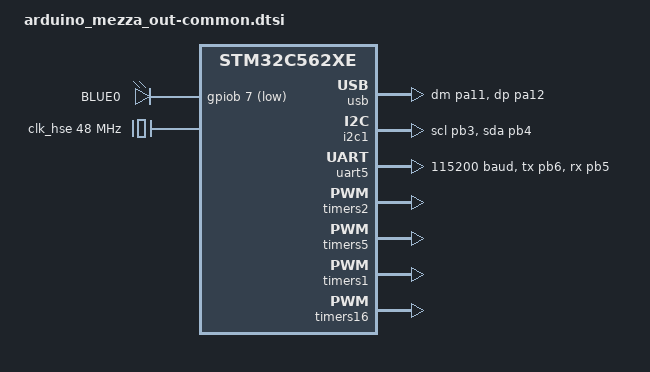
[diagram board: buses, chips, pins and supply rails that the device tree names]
/*
 * Copyright (c) 2026 Arduino SA
 *
 * SPDX-License-Identifier: Apache-2.0
 */

#include <st/c5/stm32c562Xe.dtsi>
#include <st/c5/stm32c5(5-6)2c(c-e)ux-pinctrl.dtsi>
#include <zephyr/dt-bindings/sensor/qdec_stm32.h>
#include <zephyr/dt-bindings/led/led.h>
#include <zephyr/dt-bindings/clock/stm32c5_clock.h>
#include <zephyr/dt-bindings/input/input-event-codes.h>

/{
	leds: leds {
		compatible = "gpio-leds";

		blue_led_0: led_1 {
			gpios = <&gpiob 7 GPIO_ACTIVE_LOW>;
			label = "BLUE0";
		};
	};
};

&flash0 {
	partitions {
		compatible = "fixed-partitions";
		#address-cells = <1>;
		#size-cells = <1>;

		boot_partition: partition@0 {
			label = "mcuboot";
			reg = <0x00000000 DT_SIZE_K(64)>;
		};

		slot0_partition: partition@10000 {
			label = "image-0";
			reg = <0x00010000 DT_SIZE_K(224)>;
		};

		slot1_partition: partition@100000 {
			label = "image-1";
			reg = <0x00208000 DT_SIZE_K(224)>;
		};
	};
};

/*
 * USB Full Speed
 */

zephyr_udc0: &usb {
	pinctrl-0 = <&usb_dm_pa11 &usb_dp_pa12>;
	pinctrl-names = "default";
	status = "okay";
};

/*
 * ------------------------------- CLOCKS
 */

&clk_hse {
	clock-frequency = <DT_FREQ_M(48)>;
	status = "okay";
};

&clk_psis {
	clock-frequency = <DT_FREQ_M(144)>;
	status = "okay";
};

&clk_hsis {
	status = "okay";
};

&rcc {
	st,psi-source = "HSE";
	st,psi-frequency = <144>;
	clock-frequency = <DT_FREQ_M(144)>;
	ahb-prescaler = <1>;
	apb1-prescaler = <1>;
	apb2-prescaler = <1>;
	apb3-prescaler = <1>;
	status = "okay";
};

/*
 * I2C
 */

/* espansion I2C */
&i2c1 {
	pinctrl-0 = <&i2c1_scl_pb8 &i2c1_sda_pb9>;
	pinctrl-names = "default";
	status = "okay";
};

/* gpio expander */
&i2c1 {
	pinctrl-0 = <&i2c1_scl_pb3 &i2c1_sda_pb4>;
	pinctrl-names = "default";
	status = "okay";
};
/*
 * UART
 */

/* expansion uart */
&uart5 {
	pinctrl-0 = <&uart5_tx_pb6 &uart5_rx_pb5>;
	pinctrl-names = "default";
	current-speed = <115200>;
	status = "okay";
};


&timers2{
	st,prescaler = <254>;
	status = "okay";

	pwm2: pwm {
		pinctrl-0 = <&tim2_ch1_pa0 &tim2_ch2_pa1 &tim2_ch3_pa2 &tim2_ch4_pa3>;
		pinctrl-names = "default";
		four-channel-capture-support;
		status = "okay";
	};
};

&timers5{
	st,prescaler = <254>;
	status = "okay";

	pwm5: pwm {
		pinctrl-0 = <&tim5_ch1_pa6 &tim5_ch2_pa7 &tim5_ch3_pb0 &tim5_ch4_pb1>;
		pinctrl-names = "default";
		four-channel-capture-support;
		status = "okay";
	};
};

&timers1{
	st,prescaler = <254>;
	status = "okay";

	pwm1: pwm {
		pinctrl-0 = <&tim1_ch1_pa8 &tim1_ch2_pa9 &tim1_ch3_pa10>;
		pinctrl-names = "default";
		four-channel-capture-support;
		status = "okay";
	};
};

&timers16{
	st,prescaler = <254>;
	status = "okay";

	pwm16: pwm {
		pinctrl-0 = <&tim16_ch1_pb7>;
		pinctrl-names = "default";
		four-channel-capture-support;
		status = "okay";
	};
};
